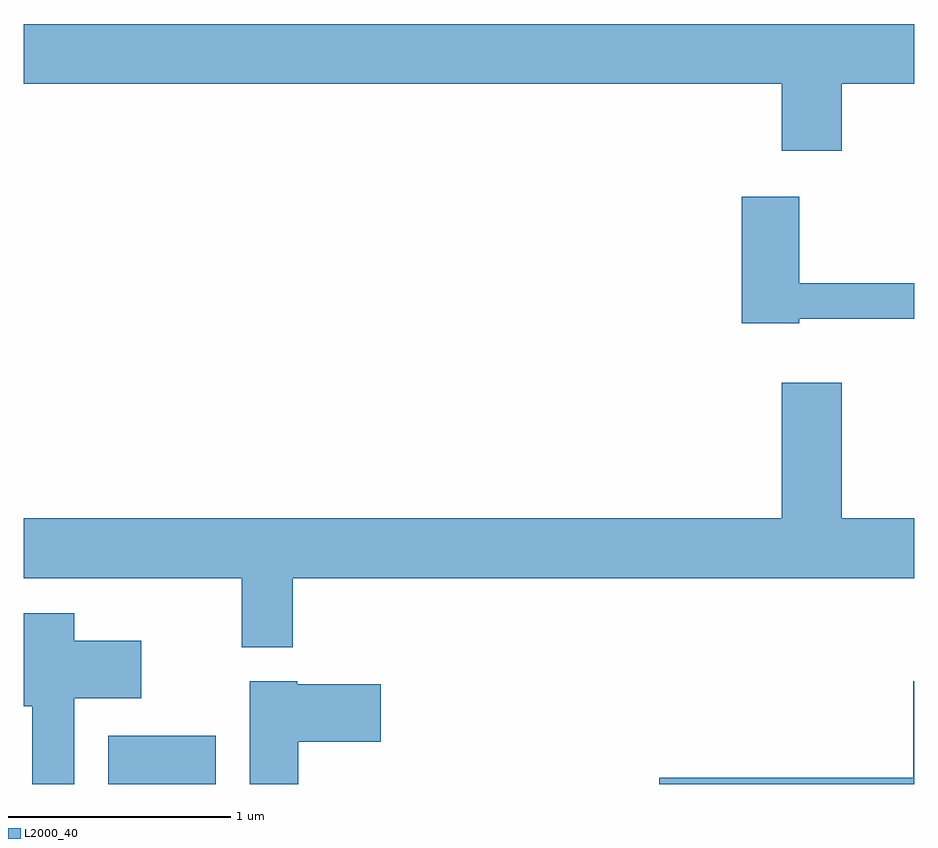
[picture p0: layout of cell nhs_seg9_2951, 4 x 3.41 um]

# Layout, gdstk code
import gdstk
lib = gdstk.Library(unit=1e-6, precision=1e-09)
def R(c, l, rs):  # rectangles x0, y0, x1, y1
    for r in rs: c.add(gdstk.rectangle(r[:2], r[2:], *l))
def P(c, l, *ps):  # polygons
    for p in ps: c.add(gdstk.Polygon(p, *l))
L2000_40 = (2000, 40)

nhs_seg9_2951 = lib.new_cell('nhs_seg9_2951')
R(nhs_seg9_2951, L2000_40, [(271.991,2006.432,272.474,2006.649)])
P(nhs_seg9_2951, L2000_40, [(275.284,2009.576),(275.611,2009.576),(275.611,2009.844),(271.611,2009.844),(271.611,2009.576),(275.016,2009.576),(275.016,2009.276),(275.284,2009.276)],
  [(275.094,2008.521),(275.611,2008.521),(275.611,2008.679),(275.094,2008.679),(275.094,2009.069),(274.836,2009.069),(274.836,2008.501),(275.094,2008.501)],
  [(272.819,2007.356),(275.611,2007.356),(275.611,2007.624),(275.284,2007.624),(275.284,2008.234),(275.016,2008.234),(275.016,2007.624),(271.611,2007.624),(271.611,2007.356),(272.591,2007.356),(272.591,2007.046),(272.819,2007.046)],
  [(271.839,2006.816),(272.139,2006.816),(272.139,2007.074),(271.839,2007.074),(271.839,2007.199),(271.611,2007.199),(271.611,2006.781),(271.651,2006.781),(271.651,2006.432),(271.839,2006.432)],
  [(272.844,2006.621),(273.214,2006.621),(273.214,2006.879),(272.84,2006.879),(272.84,2006.894),(272.626,2006.894),(272.626,2006.432),(272.844,2006.432)],
  [(275.611,2006.894),(275.606,2006.894),(275.606,2006.459),(274.466,2006.459),(274.466,2006.432),(275.611,2006.432)])

lib.write_gds('nhs_seg9_2951.gds')
